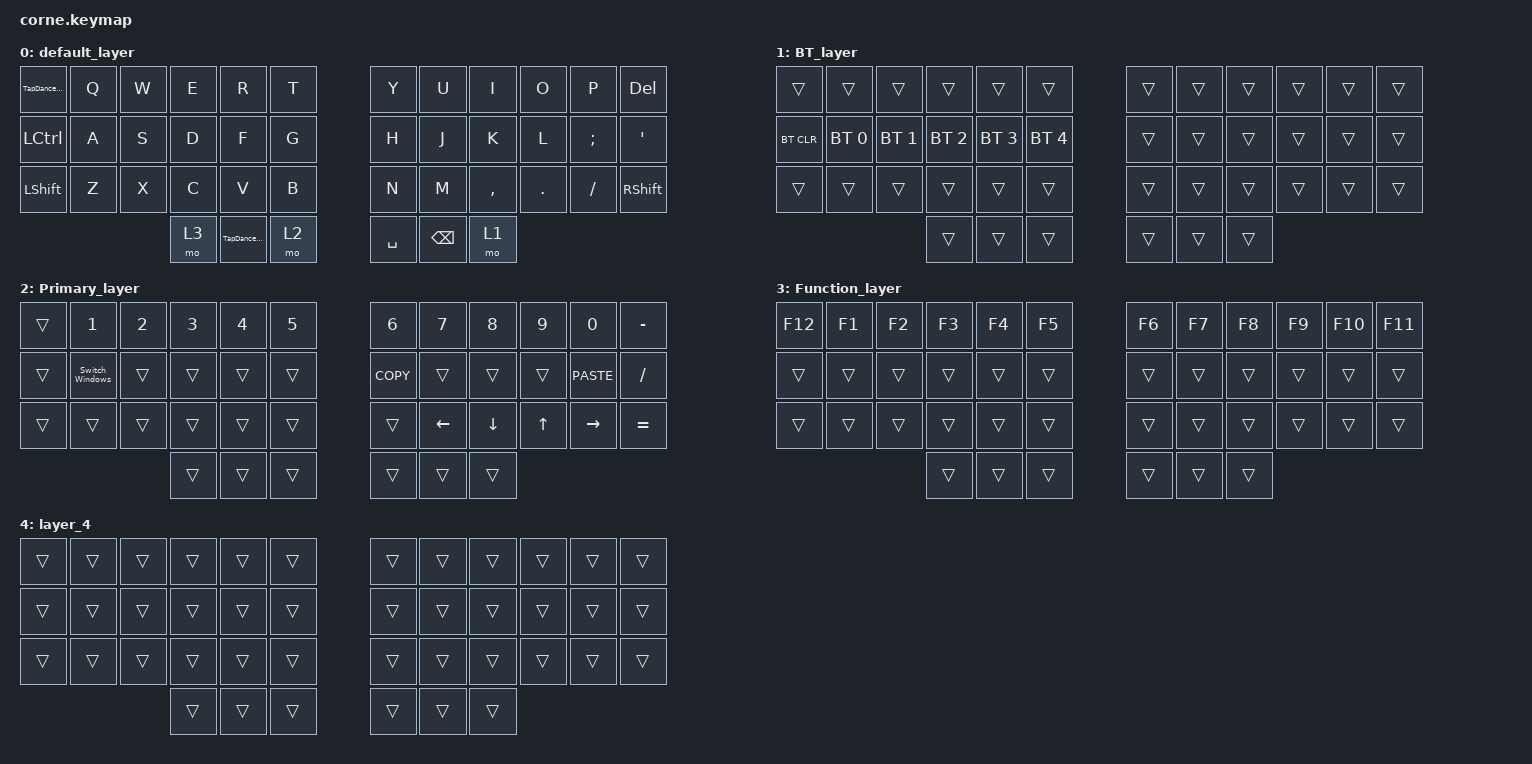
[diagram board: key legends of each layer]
/*
 * Copyright (c) 2020 The ZMK Contributors
 *
 * SPDX-License-Identifier: MIT
 */

#include <behaviors.dtsi>
#include <dt-bindings/zmk/bt.h>
#include <dt-bindings/zmk/keys.h>

/ {
    combos {
        compatible = "zmk,combos";

        new_combo {
            bindings = <&kp ESC>;
            key-positions = <2 3>;
        };
    };

    behaviors {
        TapDance0ESC: TapDance0ESC {
            compatible = "zmk,behavior-tap-dance";
            label = "TAPDANCE0ESC";
            #binding-cells = <0>;
            bindings =
                <&kp TAB>,
                <&kp ESC>;

            tapping-term-ms = <200>;
        };
        TapDanceReturnSpce: TapDanceReturnSpce {
            compatible = "zmk,behavior-tap-dance";
            label = "TAPDANCERETURNSPCE";
            #binding-cells = <0>;
            bindings =
                <&kp RET>,
                <&kp SPACE>;

            tapping-term-ms = <170>;
        };
    };

    macros {
        Switch_Windows: Switch_Windows {
            compatible = "zmk,behavior-macro";
            label = "SWITCH_WINDOWS";
            #binding-cells = <0>;
            bindings = <&kp LA(TAB)>;
        };
    };

    keymap {
        compatible = "zmk,keymap";

        default_layer {
            // -----------------------------------------------------------------------------------------
            // |  TAB |  Q  |  W  |  E  |  R  |  T  |   |  Y  |  U   |  I  |  O  |  P  | DEL |
            // | CTRL |  A  |  S  |  D  |  F  |  G  |   |  H  |  J   |  K  |  L  |  ;  |  '   |
            // | SHFT |  Z  |  X  |  C  |  V  |  B  |   |  N  |  M   |  ,  |  .  |  /  | SHFT  |
            //                    | GUI | ENT | LWR |   | SPC | BKSP  | ALT |

            bindings = <
&TapDance0ESC  &kp Q  &kp W  &kp E                &kp R  &kp T        &kp Y     &kp U      &kp I    &kp O     &kp P    &kp DEL
    &kp LCTRL  &kp A  &kp S  &kp D                &kp F  &kp G        &kp H     &kp J      &kp K    &kp L  &kp SEMI    &kp SQT
    &kp LSHFT  &kp Z  &kp X  &kp C                &kp V  &kp B        &kp N     &kp M  &kp COMMA  &kp DOT  &kp FSLH  &kp RSHFT
                             &mo 3  &TapDanceReturnSpce  &mo 2    &kp SPACE  &kp BSPC      &mo 1
            >;
        };

        BT_layer {
            // -----------------------------------------------------------------------------------------
            // |  TAB |  1  |  2  |  3  |  4  |  5  |   |  6  |  7  |  8  |  9  |  0  | BKSP |
            // | BTCLR| BT1 | BT2 | BT3 | BT4 | BT5 |   | LFT | DWN |  UP | RGT |     |      |
            // | SHFT |     |     |     |     |     |   |     |     |     |     |     |      |
            //                    | GUI |     | SPC |   | ENT |     | ALT |

            bindings = <
    &trans        &trans        &trans        &trans        &trans        &trans    &trans  &trans  &trans  &trans  &trans  &trans
&bt BT_CLR  &bt BT_SEL 0  &bt BT_SEL 1  &bt BT_SEL 2  &bt BT_SEL 3  &bt BT_SEL 4    &trans  &trans  &trans  &trans  &trans  &trans
    &trans        &trans        &trans        &trans        &trans        &trans    &trans  &trans  &trans  &trans  &trans  &trans
                                              &trans        &trans        &trans    &trans  &trans  &trans
            >;
        };

        Primary_layer {
            // -----------------------------------------------------------------------------------------
            // |  TAB |  !  |  @  |  #  |  $  |  %  |   |  ^  |  &  |  *  |  (  |  )  | BKSP |
            // | CTRL |     |     |     |     |     |   |  -  |  =  |  [  |  ]  |  \  |  `   |
            // | SHFT |     |     |     |     |     |   |  _  |  +  |  {  |  }  | "|" |  ~   |
            //                    | GUI |     | SPC |   | ENT |     | ALT |

            bindings = <
&trans     &kp NUMBER_1  &kp NUMBER_2  &kp NUMBER_3  &kp NUMBER_4  &kp NUMBER_5    &kp NUMBER_6    &kp NUMBER_7  &kp NUMBER_8  &kp NUMBER_9  &kp NUMBER_0  &kp MINUS
&trans  &Switch_Windows        &trans        &trans        &trans        &trans      &kp K_COPY          &trans        &trans        &trans   &kp K_PASTE  &kp SLASH
&trans           &trans        &trans        &trans        &trans        &trans          &trans  &kp LEFT_ARROW      &kp DOWN  &kp UP_ARROW     &kp RIGHT  &kp EQUAL
                                             &trans        &trans        &trans          &trans          &trans        &trans
            >;
        };

        Function_layer {
            bindings = <
&kp F12  &kp F1  &kp F2  &kp F3  &kp F4  &kp F5    &kp F6  &kp F7  &kp F8  &kp F9  &kp F10  &kp F11
 &trans  &trans  &trans  &trans  &trans  &trans    &trans  &trans  &trans  &trans   &trans   &trans
 &trans  &trans  &trans  &trans  &trans  &trans    &trans  &trans  &trans  &trans   &trans   &trans
                         &trans  &trans  &trans    &trans  &trans  &trans
            >;
        };

        layer_4 {
            bindings = <
&trans  &trans  &trans  &trans  &trans  &trans    &trans  &trans  &trans  &trans  &trans  &trans
&trans  &trans  &trans  &trans  &trans  &trans    &trans  &trans  &trans  &trans  &trans  &trans
&trans  &trans  &trans  &trans  &trans  &trans    &trans  &trans  &trans  &trans  &trans  &trans
                        &trans  &trans  &trans    &trans  &trans  &trans
            >;
        };
    };
};
